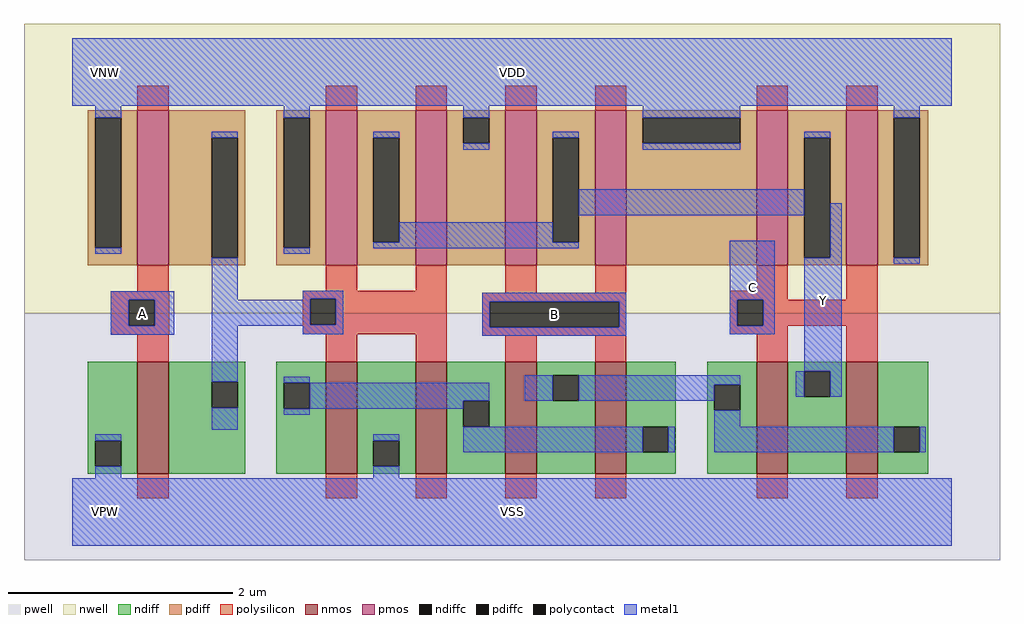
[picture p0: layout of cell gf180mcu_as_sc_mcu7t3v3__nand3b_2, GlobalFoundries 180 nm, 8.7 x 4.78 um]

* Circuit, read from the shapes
.subckt gf180mcu_as_sc_mcu7t3v3__nand3b_2 VDD VNW VPW VSS A B C Y
XM1 n1 A VSS VPW nfet_03v3 w=1u l=0.28u
XM2 VSS n1 n2 VPW nfet_03v3 w=1u l=0.28u m=2
XM3 n3 B n2 VPW nfet_03v3 w=1u l=0.28u m=2
XM4 Y C n3 VPW nfet_03v3 w=1u l=0.28u m=2
XM5 n1 A VDD VNW pfet_03v3 w=1.38u l=0.28u
XM6 Y n1 VDD VNW pfet_03v3 w=1.38u l=0.28u m=2
XM7 Y B VDD VNW pfet_03v3 w=1.38u l=0.28u m=2
XM8 Y C VDD VNW pfet_03v3 w=1.38u l=0.28u m=2
.ends

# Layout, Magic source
magic
tech gf180mcuD
magscale 1 10
<< nwell >>
rect -86 354 1654 870
<< pwell >>
rect -86 -86 1654 354
<< nmos >>
rect 116 68 172 268
rect 452 68 508 268
rect 612 68 668 268
rect 772 68 828 268
rect 932 68 988 268
rect 1220 68 1276 268
rect 1380 68 1436 268
<< pmos >>
rect 116 440 172 716
rect 452 440 508 716
rect 612 440 668 716
rect 772 440 828 716
rect 932 440 988 716
rect 1220 440 1276 716
rect 1380 440 1436 716
<< ndiff >>
rect 28 127 116 268
rect 28 81 41 127
rect 87 81 116 127
rect 28 68 116 81
rect 172 232 308 268
rect 172 186 249 232
rect 295 186 308 232
rect 172 68 308 186
rect 364 230 452 268
rect 364 184 377 230
rect 423 184 452 230
rect 364 68 452 184
rect 508 127 612 268
rect 508 81 537 127
rect 583 81 612 127
rect 508 68 612 81
rect 668 198 772 268
rect 668 152 697 198
rect 743 152 772 198
rect 668 68 772 152
rect 828 244 932 268
rect 828 198 857 244
rect 903 198 932 244
rect 828 68 932 198
rect 988 152 1076 268
rect 988 106 1017 152
rect 1063 106 1076 152
rect 988 68 1076 106
rect 1132 227 1220 268
rect 1132 181 1145 227
rect 1191 181 1220 227
rect 1132 68 1220 181
rect 1276 251 1380 268
rect 1276 205 1305 251
rect 1351 205 1380 251
rect 1276 68 1380 205
rect 1436 152 1526 268
rect 1436 106 1465 152
rect 1511 106 1526 152
rect 1436 68 1526 106
<< pdiff >>
rect 28 703 116 716
rect 28 471 41 703
rect 87 471 116 703
rect 28 440 116 471
rect 172 667 308 716
rect 172 453 249 667
rect 295 453 308 667
rect 172 440 308 453
rect 364 703 452 716
rect 364 471 377 703
rect 423 471 452 703
rect 364 440 452 471
rect 508 667 612 716
rect 508 481 537 667
rect 583 481 612 667
rect 508 440 612 481
rect 668 703 772 716
rect 668 657 697 703
rect 743 657 772 703
rect 668 440 772 657
rect 828 667 932 716
rect 828 481 857 667
rect 903 481 932 667
rect 828 440 932 481
rect 988 703 1220 716
rect 988 657 1017 703
rect 1191 657 1220 703
rect 988 440 1220 657
rect 1276 667 1380 716
rect 1276 453 1305 667
rect 1351 453 1380 667
rect 1276 440 1380 453
rect 1436 703 1526 716
rect 1436 453 1465 703
rect 1511 453 1526 703
rect 1436 440 1526 453
<< ndiffc >>
rect 41 81 87 127
rect 249 186 295 232
rect 377 184 423 230
rect 537 81 583 127
rect 697 152 743 198
rect 857 198 903 244
rect 1017 106 1063 152
rect 1145 181 1191 227
rect 1305 205 1351 251
rect 1465 106 1511 152
<< pdiffc >>
rect 41 471 87 703
rect 249 453 295 667
rect 377 471 423 703
rect 537 481 583 667
rect 697 657 743 703
rect 857 481 903 667
rect 1017 657 1191 703
rect 1305 453 1351 667
rect 1465 453 1511 703
<< polysilicon >>
rect 116 716 172 760
rect 452 716 508 760
rect 612 716 668 760
rect 772 716 828 760
rect 932 716 988 760
rect 1220 716 1276 760
rect 1380 716 1436 760
rect 116 393 172 440
rect 452 394 508 440
rect 612 394 668 440
rect 69 378 173 393
rect 69 332 101 378
rect 147 332 173 378
rect 69 316 173 332
rect 411 380 668 394
rect 772 391 828 440
rect 932 391 988 440
rect 1220 394 1276 440
rect 411 334 424 380
rect 470 334 668 380
rect 411 317 668 334
rect 116 268 172 316
rect 452 268 508 317
rect 612 268 668 317
rect 731 375 988 391
rect 731 329 744 375
rect 975 329 988 375
rect 731 314 988 329
rect 1172 378 1276 394
rect 1380 378 1436 440
rect 1172 332 1186 378
rect 1232 332 1436 378
rect 1172 317 1276 332
rect 772 268 828 314
rect 932 268 988 314
rect 1220 268 1276 317
rect 1380 268 1436 332
rect 116 24 172 68
rect 452 24 508 68
rect 612 24 668 68
rect 772 24 828 68
rect 932 24 988 68
rect 1220 24 1276 68
rect 1380 24 1436 68
<< polycontact >>
rect 101 332 147 378
rect 424 334 470 380
rect 744 329 975 375
rect 1186 332 1232 378
<< metal1 >>
rect 0 724 1568 844
rect 41 703 87 724
rect 377 703 423 724
rect 41 460 87 471
rect 249 667 295 678
rect 697 703 743 724
rect 377 460 423 471
rect 537 667 583 678
rect 1017 703 1191 724
rect 697 646 743 657
rect 857 667 903 678
rect 583 481 857 516
rect 1465 703 1511 724
rect 1017 646 1191 657
rect 1305 667 1351 678
rect 903 529 1305 575
rect 537 470 903 481
rect 69 378 182 393
rect 69 332 101 378
rect 147 332 182 378
rect 69 316 182 332
rect 249 378 295 453
rect 411 380 483 394
rect 411 378 424 380
rect 249 334 424 378
rect 470 334 483 380
rect 249 332 483 334
rect 249 232 295 332
rect 411 317 483 332
rect 731 375 988 391
rect 731 329 744 375
rect 975 329 988 375
rect 731 314 988 329
rect 1172 378 1252 483
rect 1172 332 1186 378
rect 1232 332 1252 378
rect 1172 317 1252 332
rect 1351 453 1372 550
rect 1305 251 1372 453
rect 1465 442 1511 453
rect 249 146 295 186
rect 377 230 423 241
rect 423 198 743 230
rect 807 198 857 244
rect 903 227 1191 244
rect 903 198 1145 227
rect 423 184 697 198
rect 377 173 423 184
rect 1290 205 1305 251
rect 1351 205 1372 251
rect 1145 152 1191 181
rect 41 127 87 138
rect 41 60 87 81
rect 537 127 583 138
rect 697 106 1017 152
rect 1063 106 1074 152
rect 1145 106 1465 152
rect 1511 106 1522 152
rect 537 60 583 81
rect 0 -60 1568 60
<< labels >>
flabel metal1 s 0 724 1568 844 0 FreeSans 400 0 0 0 VDD
port 1 nsew power bidirectional abutment
flabel metal1 s 0 -60 1568 60 0 FreeSans 400 0 0 0 VSS
port 4 nsew ground bidirectional abutment
flabel nwell s 10 734 110 834 0 FreeSans 400 0 0 0 VNW
port 2 nsew power bidirectional
flabel pwell s 10 -50 110 50 0 FreeSans 400 0 0 0 VPW
port 3 nsew ground bidirectional
flabel metal1 69 316 182 393 0 FreeSans 200 0 0 0 A
port 5 nsew signal input
flabel metal1 731 314 988 391 0 FreeSans 200 0 0 0 B
port 6 nsew signal input
flabel metal1 1172 317 1252 483 0 FreeSans 200 0 0 0 C
port 7 nsew signal input
flabel metal1 1305 205 1372 550 0 FreeSans 200 0 0 0 Y
port 8 nsew signal output
<< properties >>
string FIXED_BBOX 0 0 1568 784
string LEFclass CORE
string LEFsite unithd
string LEFsymmetry X Y
string MASKHINTS_NPLUS -16 -46 1584 354
string MASKHINTS_PPLUS -16 354 1584 830
<< end >>
